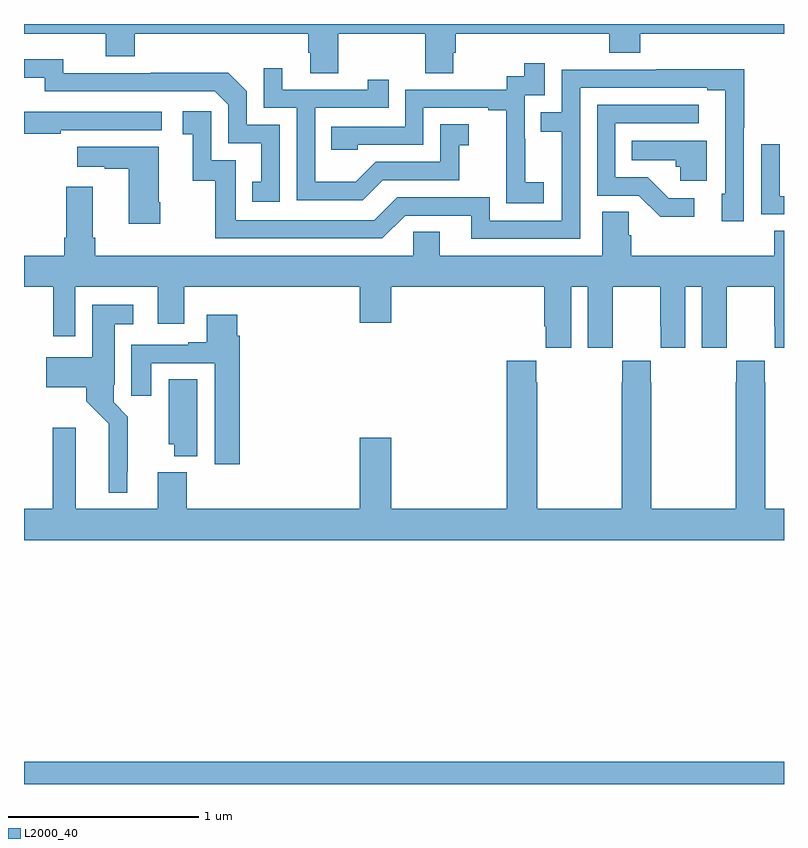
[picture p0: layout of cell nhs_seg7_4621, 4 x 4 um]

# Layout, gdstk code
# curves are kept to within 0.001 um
import gdstk
lib = gdstk.Library(unit=1e-6, precision=1e-09)
def R(c, l, rs):  # rectangles x0, y0, x1, y1
    for r in rs: c.add(gdstk.rectangle(r[:2], r[2:], *l))
def P(c, l, *ps):  # polygons
    for p in ps: c.add(gdstk.Polygon(p, *l))
L2000_40 = (2000, 40)

nhs_seg7_4621 = lib.new_cell('nhs_seg7_4621')
R(nhs_seg7_4621, L2000_40, [(403,998,407,998.116)])
P(nhs_seg7_4621, L2000_40, [(404.655,1001.948),(405.112,1001.948),(405.112,1001.74),(405.259,1001.74),(405.259,1001.85),(405.272,1001.85),(405.272,1001.948),(406.079,1001.948),(406.079,1001.849),(406.244,1001.849),(406.244,1001.948),(407,1001.948),(407,1002),(403,1002),(403,1001.948),(403.43,1001.948),(403.43,1001.831),(403.583,1001.831),(403.583,1001.948),(404.495,1001.948),(404.495,1001.85),(404.507,1001.85),(404.507,1001.74),(404.655,1001.74)],
  [(404.346,1001.469),(404.172,1001.469),(404.172,1001.646),(404.074,1001.744),(403.666,1001.744),(403.666,1001.742),(403.206,1001.742),(403.206,1001.815),(403,1001.815),(403,1001.718),(403.11,1001.718),(403.11,1001.646),(404.004,1001.646),(404.076,1001.574),(404.076,1001.373),(404.249,1001.373),(404.249,1001.169),(404.2,1001.169),(404.2,1001.064),(404.346,1001.064)],
  [(405.736,1001.167),(405.638,1001.167),(405.638,1001.396),(405.636,1001.396),(405.636,1001.625),(405.741,1001.625),(405.741,1001.794),(405.633,1001.794),(405.633,1001.724),(405.54,1001.724),(405.54,1001.655),(405.006,1001.655),(405.006,1001.46),(404.617,1001.46),(404.617,1001.337),(404.757,1001.337),(404.757,1001.364),(405.102,1001.364),(405.102,1001.559),(405.443,1001.559),(405.443,1001.547),(405.539,1001.547),(405.539,1001.263),(405.538,1001.263),(405.538,1001.057),(405.736,1001.057)],
  [(404.887,1001.178),(405.291,1001.178),(405.291,1001.363),(405.34,1001.363),(405.34,1001.473),(405.192,1001.473),(405.192,1001.274),(404.85,1001.274),(404.746,1001.17),(404.532,1001.17),(404.532,1001.559),(404.921,1001.559),(404.921,1001.707),(404.81,1001.707),(404.81,1001.655),(404.359,1001.655),(404.359,1001.767),(404.262,1001.767),(404.262,1001.559),(404.436,1001.559),(404.436,1001.073),(404.782,1001.073)],
  [(405.927,1001.664),(406.595,1001.664),(406.595,1001.652),(406.692,1001.652),(406.692,1001.106),(406.673,1001.106),(406.673,1000.962),(406.788,1000.962),(406.788,1001.455),(406.791,1001.455),(406.791,1001.762),(406.327,1001.762),(406.327,1001.76),(405.831,1001.76),(405.831,1001.535),(405.721,1001.535),(405.721,1001.434),(405.831,1001.434),(405.831,1000.965),(405.45,1000.965),(405.45,1001.088),(404.964,1001.088),(404.844,1000.968),(404.115,1000.968),(404.115,1001.283),(403.986,1001.283),(403.986,1001.542),(403.836,1001.542),(403.836,1001.421),(403.889,1001.421),(403.889,1001.175),(404.007,1001.175),(404.007,1000.872),(404.886,1000.872),(405.006,1000.992),(405.353,1000.992),(405.353,1000.869),(405.927,1000.869)],
  [(406.528,1001.082),(406.393,1001.082),(406.282,1001.193),(406.113,1001.193),(406.113,1001.478),(406.552,1001.478),(406.552,1001.574),(406.017,1001.574),(406.017,1001.097),(406.236,1001.097),(406.349,1000.985),(406.528,1000.985)],
  [(403.193,1001.442),(403.726,1001.442),(403.726,1001.538),(403,1001.538),(403,1001.422),(403.193,1001.422)],
  [(406.594,1001.386),(406.198,1001.386),(406.198,1001.282),(406.429,1001.282),(406.429,1001.25),(406.455,1001.25),(406.455,1001.174),(406.594,1001.174)],
  [(407,1001.094),(406.977,1001.094),(406.977,1001.368),(406.881,1001.368),(406.881,1000.998),(407,1000.998)],
  [(403.716,1001.062),(403.708,1001.062),(403.708,1001.353),(403.281,1001.353),(403.281,1001.249),(403.424,1001.249),(403.424,1001.239),(403.55,1001.239),(403.55,1000.95),(403.716,1000.95)],
  [(405.88,1000.616),(405.968,1000.616),(405.968,1000.296),(406.098,1000.296),(406.098,1000.408),(406.099,1000.408),(406.099,1000.616),(406.349,1000.616),(406.349,1000.408),(406.35,1000.408),(406.35,1000.296),(406.48,1000.296),(406.48,1000.616),(406.568,1000.616),(406.568,1000.296),(406.698,1000.296),(406.698,1000.408),(406.699,1000.408),(406.699,1000.616),(406.949,1000.616),(406.949,1000.408),(406.95,1000.408),(406.95,1000.296),(407,1000.296),(407,1000.913),(406.949,1000.913),(406.949,1000.78),(406.196,1000.78),(406.196,1000.889),(406.182,1000.889),(406.182,1001.012),(406.043,1001.012),(406.043,1000.78),(405.187,1000.78),(405.187,1000.907),(405.048,1000.907),(405.048,1000.78),(403.376,1000.78),(403.376,1000.876),(403.363,1000.876),(403.363,1001.143),(403.223,1001.143),(403.223,1000.876),(403.211,1000.876),(403.211,1000.78),(403,1000.78),(403,1000.616),(403.153,1000.616),(403.153,1000.356),(403.269,1000.356),(403.269,1000.616),(403.703,1000.616),(403.703,1000.422),(403.843,1000.422),(403.843,1000.616),(404.768,1000.616),(404.768,1000.428),(404.932,1000.428),(404.932,1000.616),(405.737,1000.616),(405.737,1000.408),(405.746,1000.408),(405.746,1000.296),(405.88,1000.296)],
  [(403.543,999.643),(403.547,999.643),(403.547,999.934),(403.473,1000.008),(403.473,1000.102),(403.477,1000.102),(403.477,1000.421),(403.576,1000.421),(403.576,1000.522),(403.358,1000.522),(403.358,1000.246),(403.116,1000.246),(403.116,1000.088),(403.328,1000.088),(403.328,1000.014),(403.446,999.896),(403.445,999.533),(403.543,999.533)],
  [(404.135,1000.358),(404.122,1000.358),(404.122,1000.471),(403.961,1000.471),(403.961,1000.324),(403.865,1000.324),(403.865,1000.311),(403.565,1000.311),(403.565,1000.044),(403.669,1000.044),(403.669,1000.215),(404.003,1000.215),(404.003,999.684),(404.135,999.684)],
  [(403.703,999.64),(403.703,999.448),(403.273,999.448),(403.273,999.874),(403.151,999.874),(403.151,999.448),(403,999.448),(403,999.284),(407,999.284),(407,999.448),(406.902,999.448),(406.902,1000.115),(406.899,1000.115),(406.899,1000.228),(406.749,1000.228),(406.749,1000.115),(406.747,1000.115),(406.747,999.448),(406.302,999.448),(406.302,1000.115),(406.299,1000.115),(406.299,1000.228),(406.149,1000.228),(406.149,1000.115),(406.147,1000.115),(406.147,999.448),(405.702,999.448),(405.702,1000.115),(405.695,1000.115),(405.695,1000.228),(405.542,1000.228),(405.542,999.448),(404.932,999.448),(404.932,999.823),(404.768,999.823),(404.768,999.448),(403.856,999.448),(403.856,999.64)],
  [(403.912,1000.13),(403.763,1000.13),(403.763,999.789),(403.79,999.789),(403.79,999.725),(403.912,999.725)])

lib.write_gds('nhs_seg7_4621.gds')
